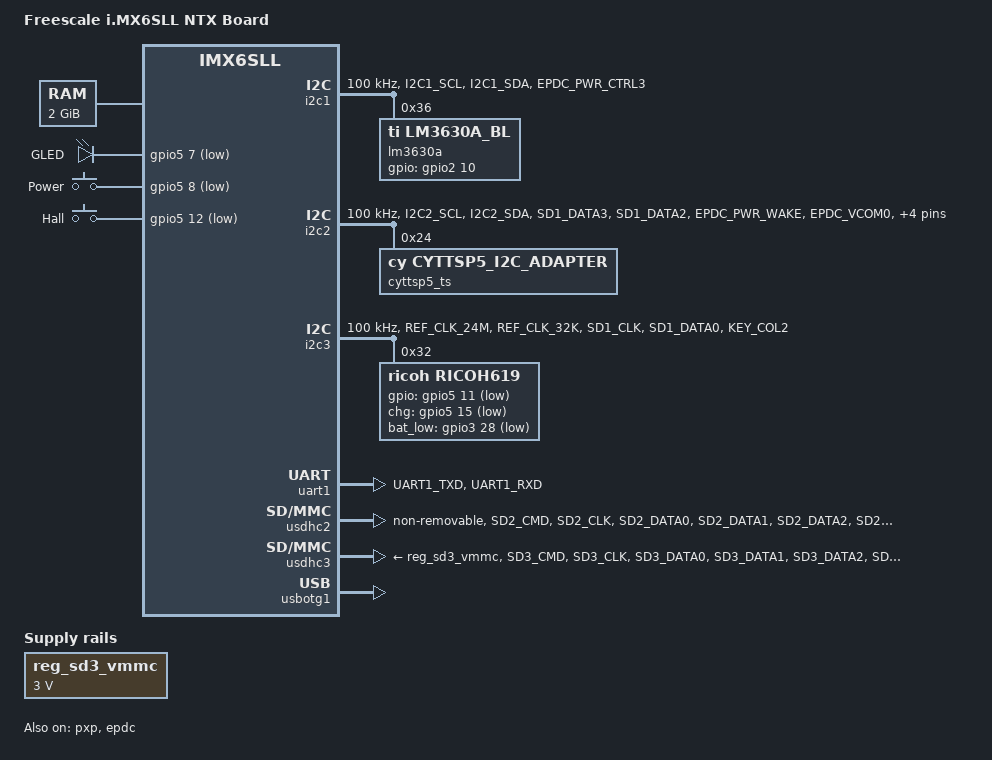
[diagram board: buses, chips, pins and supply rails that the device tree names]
/*
 * Copyright (C) 2016 Freescale Semiconductor, Inc.
 *
 * This program is free software; you can redistribute it and/or modify
 * it under the terms of the GNU General Public License version 2 as
 * published by the Free Software Foundation.
 */

/dts-v1/;

#include <dt-bindings/gpio/gpio.h>
#include <dt-bindings/input/input.h>
#include "imx6sll-ntx.dtsi"

/ {
	model = "Freescale i.MX6SLL NTX Board";
	compatible = "fsl,imx6sll-lpddr3-arm2", "fsl,imx6sll";

	memory {
		reg = <0x80000000 0x80000000>;
	};

	pxp_v4l2_out {
		compatible = "fsl,imx6sl-pxp-v4l2";
		status = "okay";
	};

	regulators {
		compatible = "simple-bus";
		#address-cells = <1>;
		#size-cells = <0>;

		reg_sd3_vmmc: wifi_regulator {
			compatible = "regulator-fixed";
			regulator-name = "SD3_SPWR";
			regulator-min-microvolt = <3000000>;
			regulator-max-microvolt = <3000000>;
			wifipwr-gpio = <&gpio4 29 GPIO_ACTIVE_HIGH>;
			wifirst-gpio = <&gpio5 0 GPIO_ACTIVE_HIGH>;
			wifiint-gpio = <&gpio4 31 GPIO_ACTIVE_HIGH>;
			gpio-open-drain;
		};
	};

	leds {
		compatible = "gpio-leds";
		pinctrl-names = "default";
		pinctrl-0 = <&pinctrl_led>;

		GLED {
			gpios = <&gpio5 7 GPIO_ACTIVE_LOW>;
			linux,default-trigger = "timer";
		};
	};

	gpio-keys {
		compatible = "gpio-keys";
		pinctrl-names = "default";
		pinctrl-0 = <&pinctrl_gpio_keys>;
		power {
			label = "Power";
			gpios = <&gpio5 8 GPIO_ACTIVE_LOW>;
			linux,code = <KEY_POWER>;
			gpio-key,wakeup;
		};
		hall {
			label = "Hall";
			gpios = <&gpio5 12 GPIO_ACTIVE_LOW>;
			linux,code = <KEY_H>;
			gpio-key,wakeup;
		};
	};

	usb_plug {
		compatible = "usb_plug";
	};
	ntx_bl {
		compatible = "ntx_bl";
	};
	ntx_led {
		compatible = "ntx_led";
	};
	ntx_event0 {
		compatible = "ntx_event0";
	};

};

&audmux {
	pinctrl-names = "default";
	status = "disabled";
};

&clks {
	assigned-clocks = <&clks IMX6SLL_CLK_PLL4_AUDIO_DIV>;
	assigned-clock-rates = <393216000>;
};

&cpu0 {
/*	arm-supply = <&sw1a_reg>;*/
/*	soc-supply = <&sw1c_reg>;*/
	arm-supply = <&ricoh619_dcdc3_reg>;
	soc-supply = <&ricoh619_dcdc1_reg>;
};

&csi {
	status = "disabled";
};

&i2c1 {
	clock-frequency = <100000>;
	pinctrl-names = "default","sleep";
	pinctrl-0 = <&pinctrl_i2c1 &pinctrl_lm3630a_bl_gpio>;
	pinctrl-1 = <&pinctrl_i2c1_sleep>;
	status = "okay";

	lm3630a: lm3630a-i2c@36 {
		reg = <0x36>;
		compatible = "ti,lm3630a_bl";
		gpios = <&gpio2 10 0>;
	};
};

&i2c2 {
	clock-frequency = <100000>;
	pinctrl-names = "default","sleep";
	pinctrl-0 = <&pinctrl_i2c2 &pinctrl_elan_ts_gpio &pinctrl_tps65185_gpio>;
	pinctrl-1 = <&pinctrl_i2c2_sleep &pinctrl_elan_ts_gpio_sleep &pinctrl_tps65185_gpio_sleep>;
	status = "okay";

	cyttsp5_ts@24 {
		compatible = "cy,cyttsp5_i2c_adapter";
		reg = <0x24>;

		cy,adapter_id = "cyttsp5_i2c_adapter";

		cy,core {
			cy,name = "cyttsp5_core";

			cy,irq_gpio = <134>;	/* <&gpio5 6 0>; */
			cy,rst_gpio = <141>;	/* <&gpio5 13 0>; */

			cy,hid_desc_register = <1>;
			/*CY_CORE_FLAG_RESTORE_PARAMETERS */
			//cy,flags = <4>;
			/* CY_CORE_EWG_NONE */
			cy,easy_wakeup_gesture = <0>;
			cy,btn_keys = <172 /* KEY_HOMEPAGE */
					   /* previously was KEY_HOME, new Android versions use KEY_HOMEPAGE */
				       139 /* KEY_MENU */
				       158 /* KEY_BACK */
				       217 /* KEY_SEARCH */
				       114 /* KEY_VOLUMEDOWN */
				       115 /* KEY_VOLUMEUP */
				       212 /* KEY_CAMERA */
				       116>; /* KEY_POWER */
			cy,btn_keys-tag = <0>;

			cy,mt {
				cy,name = "cyttsp5_mt";

				cy,inp_dev_name = "cyttsp5_mt";
				/* CY_MT_FLAG_INV_Y*/
				/* cy,flags = <0x20>; */
				cy,abs =
					/* ABS_MT_POSITION_X, CY_ABS_MIN_X, CY_ABS_MAX_X, 0, 0 */
					<0x35 0 880 0 0
					/* ABS_MT_POSITION_Y, CY_ABS_MIN_Y, CY_ABS_MAX_Y, 0, 0 */
					0x36 0 1280 0 0
					/* ABS_MT_PRESSURE, CY_ABS_MIN_P, CY_ABS_MAX_P, 0, 0 */
					0x3a 0 255 0 0
					/* CY_IGNORE_VALUE, CY_ABS_MIN_W, CY_ABS_MAX_W, 0, 0 */
					0xffff 0 255 0 0
					/* ABS_MT_TRACKING_ID, CY_ABS_MIN_T, CY_ABS_MAX_T, 0, 0 */
					0x39 0 15 0 0
					/* ABS_MT_TOUCH_MAJOR, 0, 255, 0, 0 */
					0x30 0 255 0 0
					/* ABS_MT_TOUCH_MINOR, 0, 255, 0, 0 */
					0x31 0 255 0 0
					/* ABS_MT_ORIENTATION, -127, 127, 0, 0 */
					0x34 0xffffff81 127 0 0
					/* ABS_MT_TOOL_TYPE, 0, MT_TOOL_MAX, 0, 0 */
					0x37 0 1 0 0
					/* ABS_MT_DISTANCE, 0, 255, 0, 0 */
					0x3b 0 255 0 0>;

				cy,vkeys_x = <720>;
				cy,vkeys_y = <1280>;

				cy,virtual_keys = /* KeyCode CenterX CenterY Width Height */
					/* KEY_BACK */
					<158 1360 90 160 180
					/* KEY_MENU */
					139 1360 270 160 180
					/* KEY_HOMEPAGE */
					172 1360 450 160 180
					/* KEY SEARCH */
					217 1360 630 160 180>;
			};

			cy,btn {
				cy,name = "cyttsp5_btn";

				cy,inp_dev_name = "cyttsp5_btn";
			};

			cy,proximity {
				cy,name = "cyttsp5_proximity";

				cy,inp_dev_name = "cyttsp5_proximity";
				cy,abs =
					/* ABS_DISTANCE, CY_PROXIMITY_MIN_VAL, CY_PROXIMITY_MAX_VAL, 0, 0 */
					<0x19 0 1 0 0>;
			};
		};
	};

};

&i2c3 {
	clock-frequency = <100000>;
	pinctrl-names = "default";
	pinctrl-0 = <&pinctrl_i2c3 &pinctrl_ricoh_gpio>;
	status = "okay";

	ricoh619: ricoh619-i2c@32 {
		reg = <0x32>;
		compatible = "ricoh,ricoh619";
		gpios = <&gpio5 11 GPIO_ACTIVE_LOW>;
		gpio_chg = <&gpio5 15 GPIO_ACTIVE_LOW>;
		gpio_bat_low = <&gpio3 28 GPIO_ACTIVE_LOW>;
	};

};

#include "ricoh619_mx6sll.dtsi"

&gpc {
	fsl,ldo-bypass = <1>;
};

&iomuxc {
	pinctrl-names = "default";
	pinctrl-0 = <&pinctrl_hog>;

	imx6sll-lpddr3-arm2 {
		pinctrl_hog: hoggrp {
			fsl,pins = <
				MX6SLL_PAD_LCD_DATA00__GPIO2_IO20	0x79
				MX6SLL_PAD_LCD_DATA01__GPIO2_IO21	0x79
				MX6SLL_PAD_LCD_DATA02__GPIO2_IO22	0x79
				MX6SLL_PAD_LCD_DATA03__GPIO2_IO23	0x79
				MX6SLL_PAD_LCD_DATA04__GPIO2_IO24	0x79
				MX6SLL_PAD_LCD_DATA05__GPIO2_IO25	0x79
				MX6SLL_PAD_LCD_DATA06__GPIO2_IO26	0x79
				MX6SLL_PAD_LCD_DATA07__GPIO2_IO27	0x79
				MX6SLL_PAD_LCD_DATA08__GPIO2_IO28	0x79
				MX6SLL_PAD_LCD_DATA09__GPIO2_IO29	0x79
				MX6SLL_PAD_LCD_DATA10__GPIO2_IO30	0x79
				MX6SLL_PAD_LCD_DATA11__GPIO2_IO31	0x79
				MX6SLL_PAD_LCD_DATA12__GPIO3_IO00	0x79
				MX6SLL_PAD_LCD_DATA13__GPIO3_IO01	0x79
				MX6SLL_PAD_LCD_DATA14__GPIO3_IO02	0x79
				MX6SLL_PAD_LCD_DATA15__GPIO3_IO03	0x79
				MX6SLL_PAD_LCD_DATA16__GPIO3_IO04	0x79
				MX6SLL_PAD_LCD_DATA17__GPIO3_IO05	0x79
				MX6SLL_PAD_LCD_DATA18__GPIO3_IO06	0x79
				MX6SLL_PAD_LCD_DATA19__GPIO3_IO07	0x79
				MX6SLL_PAD_LCD_DATA20__GPIO3_IO08	0x79
				MX6SLL_PAD_LCD_DATA21__GPIO3_IO09	0x79
				MX6SLL_PAD_LCD_DATA22__GPIO3_IO10	0x79
				MX6SLL_PAD_LCD_DATA23__GPIO3_IO11	0x79
				MX6SLL_PAD_LCD_CLK__GPIO2_IO15		0x79
				MX6SLL_PAD_LCD_ENABLE__GPIO2_IO16	0x79
				MX6SLL_PAD_LCD_HSYNC__GPIO2_IO17	0x79
				MX6SLL_PAD_LCD_VSYNC__GPIO2_IO18	0x79
				MX6SLL_PAD_LCD_RESET__GPIO2_IO19 	0x79
				MX6SLL_PAD_KEY_COL3__GPIO3_IO30		0x79
				MX6SLL_PAD_KEY_ROW7__GPIO4_IO07		0x79
				MX6SLL_PAD_ECSPI2_MOSI__GPIO4_IO13	0x79	
				MX6SLL_PAD_KEY_COL5__GPIO4_IO02		0x79
				MX6SLL_PAD_KEY_ROW6__GPIO4_IO05		0x79			
			>;
		};

		pinctrl_usdhc3_pwr: usdhc3_pwr_grp {
			fsl,pins = <
				MX6SLL_PAD_SD2_DATA7__GPIO5_IO00 	0x10059		// WIFI_RST
				MX6SLL_PAD_SD2_DATA5__GPIO4_IO31	0x10059		// WIFI_INT
				MX6SLL_PAD_SD2_DATA6__GPIO4_IO29	0x10059		// WIFI_3V3_ON
			>;
		};

		pinctrl_audmux3: audmux3grp {
			fsl,pins = <
				MX6SLL_PAD_AUD_TXC__AUD3_TXC		0x4130b0
				MX6SLL_PAD_AUD_TXFS__AUD3_TXFS		0x4130b0
				MX6SLL_PAD_AUD_TXD__AUD3_TXD		0x4110b0
				MX6SLL_PAD_AUD_RXD__AUD3_RXD		0x4130b0
				MX6SLL_PAD_AUD_MCLK__AUDIO_CLK_OUT	0x4130b0
			>;
		};

		pinctrl_csi1: csi1grp {
			fsl,pins = <
				MX6SLL_PAD_EPDC_GDRL__CSI_MCLK		0x1b088
				MX6SLL_PAD_EPDC_GDCLK__CSI_PIXCLK	0x1b088
				MX6SLL_PAD_EPDC_GDSP__CSI_VSYNC		0x1b088
				MX6SLL_PAD_EPDC_GDOE__CSI_HSYNC		0x1b088
				MX6SLL_PAD_EPDC_DATA02__CSI_DATA02	0x1b088
				MX6SLL_PAD_EPDC_DATA03__CSI_DATA03	0x1b088
				MX6SLL_PAD_EPDC_DATA04__CSI_DATA04	0x1b088
				MX6SLL_PAD_EPDC_DATA05__CSI_DATA05	0x1b088
				MX6SLL_PAD_EPDC_DATA06__CSI_DATA06	0x1b088
				MX6SLL_PAD_EPDC_DATA07__CSI_DATA07	0x1b088
				MX6SLL_PAD_EPDC_SDCLK__CSI_DATA08	0x1b088
				MX6SLL_PAD_EPDC_SDLE__CSI_DATA09	0x1b088
				MX6SLL_PAD_EPDC_SDSHR__GPIO1_IO26	0x80000000
				MX6SLL_PAD_EPDC_SDOE__GPIO1_IO25	0x80000000
			>;
		};

		pinctrl_led: ledgrp {
			fsl,pins = <
				MX6SLL_PAD_SD1_DATA6__GPIO5_IO07 0x17059
			>;
		};

                pinctrl_epdc0: epdcgrp0 {
                        fsl,pins = <
				MX6SLL_PAD_EPDC_DATA00__EPDC_DATA00	0x4100b1
				MX6SLL_PAD_EPDC_DATA01__EPDC_DATA01	0x4100b1
				MX6SLL_PAD_EPDC_DATA02__EPDC_DATA02	0x4100b1
				MX6SLL_PAD_EPDC_DATA03__EPDC_DATA03	0x4100b1
				MX6SLL_PAD_EPDC_DATA04__EPDC_DATA04	0x4100b1
				MX6SLL_PAD_EPDC_DATA05__EPDC_DATA05	0x4100b1
				MX6SLL_PAD_EPDC_DATA06__EPDC_DATA06	0x4100b1
				MX6SLL_PAD_EPDC_DATA07__EPDC_DATA07	0x4100b1
				MX6SLL_PAD_EPDC_DATA08__EPDC_DATA08	0x4100b1
				MX6SLL_PAD_EPDC_DATA09__EPDC_DATA09	0x4100b1
				MX6SLL_PAD_EPDC_DATA10__EPDC_DATA10	0x4100b1
				MX6SLL_PAD_EPDC_DATA11__EPDC_DATA11	0x4100b1
				MX6SLL_PAD_EPDC_DATA12__EPDC_DATA12	0x4100b1
				MX6SLL_PAD_EPDC_DATA13__EPDC_DATA13	0x4100b1
				MX6SLL_PAD_EPDC_DATA14__EPDC_DATA14	0x4100b1
				MX6SLL_PAD_EPDC_DATA15__EPDC_DATA15	0x4100b1
				MX6SLL_PAD_EPDC_SDCLK__EPDC_SDCLK_P	0x4100b1
				MX6SLL_PAD_EPDC_SDLE__EPDC_SDLE		0x4100b1
				MX6SLL_PAD_EPDC_SDOE__EPDC_SDOE		0x4100b1
				MX6SLL_PAD_EPDC_SDSHR__EPDC_SDSHR	0x4100b1
				MX6SLL_PAD_EPDC_SDCE0__EPDC_SDCE0	0x4100b1
				MX6SLL_PAD_EPDC_GDCLK__EPDC_GDCLK	0x4100b1
				MX6SLL_PAD_EPDC_GDOE__EPDC_GDOE		0x4100b1
				MX6SLL_PAD_EPDC_GDRL__EPDC_GDRL		0x4100b1
				MX6SLL_PAD_EPDC_GDSP__EPDC_GDSP		0x4100b1
                       >;
                };

		pinctrl_lcdif_dat: lcdifdatgrp {
			fsl,pins = <
				MX6SLL_PAD_LCD_DATA00__LCD_DATA00	0x79
				MX6SLL_PAD_LCD_DATA01__LCD_DATA01	0x79
				MX6SLL_PAD_LCD_DATA02__LCD_DATA02	0x79
				MX6SLL_PAD_LCD_DATA03__LCD_DATA03	0x79
				MX6SLL_PAD_LCD_DATA04__LCD_DATA04	0x79
				MX6SLL_PAD_LCD_DATA05__LCD_DATA05	0x79
				MX6SLL_PAD_LCD_DATA06__LCD_DATA06	0x79
				MX6SLL_PAD_LCD_DATA07__LCD_DATA07	0x79
				MX6SLL_PAD_LCD_DATA08__LCD_DATA08	0x79
				MX6SLL_PAD_LCD_DATA09__LCD_DATA09	0x79
				MX6SLL_PAD_LCD_DATA10__LCD_DATA10	0x79
				MX6SLL_PAD_LCD_DATA11__LCD_DATA11	0x79
				MX6SLL_PAD_LCD_DATA12__LCD_DATA12	0x79
				MX6SLL_PAD_LCD_DATA13__LCD_DATA13	0x79
				MX6SLL_PAD_LCD_DATA14__LCD_DATA14	0x79
				MX6SLL_PAD_LCD_DATA15__LCD_DATA15	0x79
				MX6SLL_PAD_LCD_DATA16__LCD_DATA16	0x79
				MX6SLL_PAD_LCD_DATA17__LCD_DATA17	0x79
				MX6SLL_PAD_LCD_DATA18__LCD_DATA18	0x79
				MX6SLL_PAD_LCD_DATA19__LCD_DATA19	0x79
				MX6SLL_PAD_LCD_DATA20__LCD_DATA20	0x79
				MX6SLL_PAD_LCD_DATA21__LCD_DATA21	0x79
				MX6SLL_PAD_LCD_DATA22__LCD_DATA22	0x79
				MX6SLL_PAD_LCD_DATA23__LCD_DATA23	0x79
			>;
		};

		pinctrl_lcdif_ctrl: lcdifctrlgrp {
			fsl,pins = <
				MX6SLL_PAD_LCD_CLK__LCD_CLK		0x79
				MX6SLL_PAD_LCD_ENABLE__LCD_ENABLE	0x79
				MX6SLL_PAD_LCD_HSYNC__LCD_HSYNC		0x79
				MX6SLL_PAD_LCD_VSYNC__LCD_VSYNC		0x79
				MX6SLL_PAD_LCD_RESET__LCD_RESET		0x79
				MX6SLL_PAD_ECSPI1_SCLK__GPIO4_IO08	0x79
			>;
		};

		pinctrl_max17135: max17135grp-1 {
			fsl,pins = <
				MX6SLL_PAD_EPDC_PWR_STAT__GPIO2_IO13	0x80000000  /* pwrgood */
				MX6SLL_PAD_EPDC_VCOM0__GPIO2_IO03	0x80000000  /* vcom_ctrl */
				MX6SLL_PAD_EPDC_PWR_WAKE__GPIO2_IO14	0x80000000  /* wakeup */
				MX6SLL_PAD_EPDC_PWR_CTRL0__GPIO2_IO07	0x80000000  /* v3p3 */
				MX6SLL_PAD_EPDC_PWR_IRQ__GPIO2_IO12	0x80000000  /* pwr int */
			>;
		};

		pinctrl_spdif: spdifgrp {
			fsl,pins = <
				MX6SLL_PAD_SD2_DATA4__SPDIF_OUT 0x4130b0
			>;
		};

		pinctrl_uart1: uart1grp {
			fsl,pins = <
				MX6SLL_PAD_UART1_TXD__UART1_DCE_TX 0x1b0b1
				MX6SLL_PAD_UART1_RXD__UART1_DCE_RX 0x1b0b1
			>;
		};

		pinctrl_usdhc1: usdhc1grp {
			fsl,pins = <
				MX6SLL_PAD_SD1_CMD__SD1_CMD	0x17059
				MX6SLL_PAD_SD1_CLK__SD1_CLK	0x17059
				MX6SLL_PAD_SD1_DATA0__SD1_DATA0	0x17059
				MX6SLL_PAD_SD1_DATA1__SD1_DATA1	0x17059
				MX6SLL_PAD_SD1_DATA2__SD1_DATA2	0x17059
				MX6SLL_PAD_SD1_DATA3__SD1_DATA3	0x17059
			>;
		};

		pinctrl_usdhc1_100mhz: usdhc1grp_100mhz {
			fsl,pins = <
				MX6SLL_PAD_SD1_CMD__SD1_CMD	0x170b9
				MX6SLL_PAD_SD1_CLK__SD1_CLK	0x170b9
				MX6SLL_PAD_SD1_DATA0__SD1_DATA0	0x170b9
				MX6SLL_PAD_SD1_DATA1__SD1_DATA1	0x170b9
				MX6SLL_PAD_SD1_DATA2__SD1_DATA2	0x170b9
				MX6SLL_PAD_SD1_DATA3__SD1_DATA3	0x170b9
			>;
		};

		pinctrl_usdhc1_200mhz: usdhc1grp_200mhz {
			fsl,pins = <
				MX6SLL_PAD_SD1_CMD__SD1_CMD	0x170f9
				MX6SLL_PAD_SD1_CLK__SD1_CLK	0x170f9
				MX6SLL_PAD_SD1_DATA0__SD1_DATA0	0x170f9
				MX6SLL_PAD_SD1_DATA1__SD1_DATA1	0x170f9
				MX6SLL_PAD_SD1_DATA2__SD1_DATA2	0x170f9
				MX6SLL_PAD_SD1_DATA3__SD1_DATA3	0x170f9
			>;
		};

		pinctrl_usdhc2: usdhc2grp {
			fsl,pins = <
				MX6SLL_PAD_SD2_CMD__SD2_CMD		0x17059
				MX6SLL_PAD_SD2_CLK__SD2_CLK		0x13059
				MX6SLL_PAD_SD2_DATA0__SD2_DATA0 	0x17059
				MX6SLL_PAD_SD2_DATA1__SD2_DATA1		0x17059
				MX6SLL_PAD_SD2_DATA2__SD2_DATA2		0x17059
				MX6SLL_PAD_SD2_DATA3__SD2_DATA3		0x17059
			>;
		};

		pinctrl_usdhc2_100mhz: usdhc2grp_100mhz {
			fsl,pins = <
				MX6SLL_PAD_SD2_CMD__SD2_CMD		0x170b9
				MX6SLL_PAD_SD2_CLK__SD2_CLK		0x130b9
				MX6SLL_PAD_SD2_DATA0__SD2_DATA0 	0x170b9
				MX6SLL_PAD_SD2_DATA1__SD2_DATA1		0x170b9
				MX6SLL_PAD_SD2_DATA2__SD2_DATA2		0x170b9
				MX6SLL_PAD_SD2_DATA3__SD2_DATA3		0x170b9
			>;
		};

		pinctrl_usdhc2_200mhz: usdhc2grp_200mhz {
			fsl,pins = <
				MX6SLL_PAD_SD2_CMD__SD2_CMD		0x170f9
				MX6SLL_PAD_SD2_CLK__SD2_CLK		0x130f9
				MX6SLL_PAD_SD2_DATA0__SD2_DATA0 	0x170f9
				MX6SLL_PAD_SD2_DATA1__SD2_DATA1		0x170f9
				MX6SLL_PAD_SD2_DATA2__SD2_DATA2		0x170f9
				MX6SLL_PAD_SD2_DATA3__SD2_DATA3		0x170f9
			>;
		};

		pinctrl_usdhc2_sleep: usdhc2grp_sleep {
			fsl,pins = <
				MX6SLL_PAD_SD2_CMD__GPIO5_IO04		0x100f9
				MX6SLL_PAD_SD2_CLK__GPIO5_IO05		0x100f9
				MX6SLL_PAD_SD2_DATA0__GPIO5_IO01 	0x100f9
				MX6SLL_PAD_SD2_DATA1__GPIO4_IO30		0x100f9
				MX6SLL_PAD_SD2_DATA2__GPIO5_IO03		0x100f9
				MX6SLL_PAD_SD2_DATA3__GPIO4_IO28		0x100f9
			>;
		};

		pinctrl_usdhc3: usdhc3grp {
			fsl,pins = <
				MX6SLL_PAD_SD3_CMD__SD3_CMD	0x11059
				MX6SLL_PAD_SD3_CLK__SD3_CLK	0x11059
				MX6SLL_PAD_SD3_DATA0__SD3_DATA0	0x11059
				MX6SLL_PAD_SD3_DATA1__SD3_DATA1	0x11059
				MX6SLL_PAD_SD3_DATA2__SD3_DATA2	0x11059
				MX6SLL_PAD_SD3_DATA3__SD3_DATA3	0x11059
			>;
		};

		pinctrl_usdhc3_100mhz: usdhc3grp_100mhz {
			fsl,pins = <
				MX6SLL_PAD_SD3_CMD__SD3_CMD	0x170b9
				MX6SLL_PAD_SD3_CLK__SD3_CLK	0x170b9
				MX6SLL_PAD_SD3_DATA0__SD3_DATA0	0x170b9
				MX6SLL_PAD_SD3_DATA1__SD3_DATA1	0x170b9
				MX6SLL_PAD_SD3_DATA2__SD3_DATA2	0x170b9
				MX6SLL_PAD_SD3_DATA3__SD3_DATA3	0x170b9
			>;
		};

		pinctrl_usdhc3_200mhz: usdhc3grp_200mhz {
			fsl,pins = <
				MX6SLL_PAD_SD3_CMD__SD3_CMD	0x170f9
				MX6SLL_PAD_SD3_CLK__SD3_CLK	0x170f9
				MX6SLL_PAD_SD3_DATA0__SD3_DATA0	0x170f9
				MX6SLL_PAD_SD3_DATA1__SD3_DATA1	0x170f9
				MX6SLL_PAD_SD3_DATA2__SD3_DATA2	0x170f9
				MX6SLL_PAD_SD3_DATA3__SD3_DATA3	0x170f9
			>;
		};

		pinctrl_usdhc3_sleep: usdhc3grp_sleep {
			fsl,pins = <
				MX6SLL_PAD_SD3_CMD__GPIO5_IO21	0x100c1
				MX6SLL_PAD_SD3_CLK__GPIO5_IO18	0x100c1
				MX6SLL_PAD_SD3_DATA0__GPIO5_IO19	0x100c1
				MX6SLL_PAD_SD3_DATA1__GPIO5_IO20	0x100c1
				MX6SLL_PAD_SD3_DATA2__GPIO5_IO16	0x100c1
				MX6SLL_PAD_SD3_DATA3__GPIO5_IO17	0x100c1
			>;
		};

		pinctrl_usbotg1: usbotg1grp {
			fsl,pins = <
				MX6SLL_PAD_EPDC_PWR_COM__USB_OTG1_ID 0x17059
			>;
		};

		pinctrl_i2c1: i2c1grp {
			fsl,pins = <
				MX6SLL_PAD_I2C1_SCL__I2C1_SCL	 0x4001f8b1
				MX6SLL_PAD_I2C1_SDA__I2C1_SDA	 0x4001f8b1
			>;
		};

		pinctrl_i2c1_sleep: i2c1grp_sleep {
			fsl,pins = <
				MX6SLL_PAD_I2C1_SCL__I2C1_SCL	 0x400108b1
				MX6SLL_PAD_I2C1_SDA__I2C1_SDA	 0x400108b1
			>;
		};

		pinctrl_i2c2: i2c2grp {
			fsl,pins = <
				MX6SLL_PAD_I2C2_SCL__I2C2_SCL	 0x4001f8b1
				MX6SLL_PAD_I2C2_SDA__I2C2_SDA	 0x4001f8b1
			>;
		};

		pinctrl_i2c2_sleep: i2c2grp_sleep {
			fsl,pins = <
				MX6SLL_PAD_I2C2_SCL__I2C2_SCL	 0x400108b1
				MX6SLL_PAD_I2C2_SDA__I2C2_SDA	 0x400108b1
			>;
		};

		pinctrl_i2c3: i2c3grp {
			fsl,pins = <
				MX6SLL_PAD_REF_CLK_24M__I2C3_SCL  0x4001f8b1
				MX6SLL_PAD_REF_CLK_32K__I2C3_SDA  0x4001f8b1
			>;
		};

		pinctrl_pwm1: pmw1grp {
			fsl,pins = <
				MX6SLL_PAD_PWM1__PWM1_OUT   0x110b0
			>;
		};

		pinctrl_ecspi1: ecspi1grp {
			fsl,pins = <
				MX6SLL_PAD_ECSPI1_MISO__ECSPI1_MISO	 0x100b1
				MX6SLL_PAD_ECSPI1_MOSI__ECSPI1_MOSI	 0x100b1
				MX6SLL_PAD_ECSPI1_SCLK__ECSPI1_SCLK	 0x100b1
				MX6SLL_PAD_ECSPI1_SS0__GPIO4_IO11	 0x100b1
			>;
		};

		pinctrl_ricoh_gpio: ricoh_gpio_grp {
			fsl,pins = <
				MX6SLL_PAD_SD1_CLK__GPIO5_IO15			0x1b8b1 /* ricoh619 chg */
				MX6SLL_PAD_SD1_DATA0__GPIO5_IO11        0x1b8b1 /* ricoh619 irq */
				MX6SLL_PAD_KEY_COL2__GPIO3_IO28				0x1b8b1 /* ricoh619 bat_low_int */
			>;
		};

		pinctrl_tps65185_gpio: tps65185_gpio_grp {
			fsl,pins = <
				MX6SLL_PAD_EPDC_PWR_WAKE__GPIO2_IO14_SION		0x10059 /* EP_PWRALL */
				MX6SLL_PAD_EPDC_VCOM0__GPIO2_IO03_SION			0x10059 /* VCOM_CTRL0 */
				MX6SLL_PAD_EPDC_PWR_CTRL0__GPIO2_IO07_SION		0x10059 /* EP_PWRCTRL0 WAKEUP */
				MX6SLL_PAD_EPDC_PWR_CTRL1__GPIO2_IO08_SION		0x10059 /* EP_PWRCTRL1 PWRUP */
				MX6SLL_PAD_EPDC_PWR_CTRL2__GPIO2_IO09		0x17059 /* EP_PWRCTRL2 EP_INT */
				MX6SLL_PAD_EPDC_PWR_STAT__GPIO2_IO13		0x17059 /* EP_PWRSTAT */
			>;
		};

		pinctrl_tps65185_gpio_sleep: tps65185_gpio_sleep_grp {
			fsl,pins = <
				MX6SLL_PAD_EPDC_PWR_WAKE__GPIO2_IO14		0x10059 /* EP_PWRALL */
				MX6SLL_PAD_EPDC_VCOM0__GPIO2_IO03			0x10059 /* VCOM_CTRL0 */
				MX6SLL_PAD_EPDC_PWR_CTRL0__GPIO2_IO07		0x10059 /* EP_PWRCTRL0 WAKEUP */
				MX6SLL_PAD_EPDC_PWR_CTRL1__GPIO2_IO08		0x10059 /* EP_PWRCTRL1 PWRUP */
				MX6SLL_PAD_EPDC_PWR_CTRL2__GPIO2_IO09		0x13059 /* EP_PWRCTRL2 EP_INT */
				MX6SLL_PAD_EPDC_PWR_STAT__GPIO2_IO13		0x13059 /* EP_PWRSTAT */
			>;
		};

		pinctrl_elan_ts_gpio: elan_ts_gpio_grp {
			fsl,pins = <
				MX6SLL_PAD_SD1_DATA3__GPIO5_IO06		0x17059 /* TP_INT */
				MX6SLL_PAD_SD1_DATA2__GPIO5_IO13		0x10059 /* TP_RST */
			>;
		};

		pinctrl_elan_ts_gpio_sleep: elan_ts_gpio_grp_sleep {
			fsl,pins = <
				MX6SLL_PAD_SD1_DATA3__GPIO5_IO06		0x10059 /* TP_INT */
				MX6SLL_PAD_SD1_DATA2__GPIO5_IO13		0x10059 /* TP_RST */
			>;
		};

		pinctrl_lm3630a_bl_gpio: lm3630a_bl_gpio_grp {
			fsl,pins = <
				MX6SLL_PAD_EPDC_PWR_CTRL3__GPIO2_IO10		0x10059 /* FL_EN */
			>;
		};

		pinctrl_gpio_keys: gpio_keys_grp {
			fsl,pins = <
				MX6SLL_PAD_SD1_DATA1__GPIO5_IO08	0x17059	/* PWR_SW */
				MX6SLL_PAD_SD1_DATA4__GPIO5_IO12	0x17059	/* HALL_EN */
			>;
		};

	};
};

&lcdif {
	pinctrl-names = "default";
	pinctrl-0 = <&pinctrl_lcdif_dat
		     &pinctrl_lcdif_ctrl>;
	display = <&display>;
	status = "disabled";

	display: display {
		bits-per-pixel = <16>;
		bus-width = <24>;

		display-timings {
			native-mode = <&timing0>;
			timing0: timing0 {
				clock-frequency = <33500000>;
				hactive = <800>;
				vactive = <480>;
				hback-porch = <89>;
				hfront-porch = <164>;
				vback-porch = <23>;
				vfront-porch = <10>;
				hsync-len = <10>;
				vsync-len = <10>;
				hsync-active = <0>;
				vsync-active = <0>;
				de-active = <1>;
				pixelclk-active = <0>;
			};
		};
	};
};

&pxp {
	status = "okay";
};

&pwm1 {
	pinctrl-names = "default";
	status = "disabled";
};

&uart1 {
	pinctrl-names = "default";
	pinctrl-0 = <&pinctrl_uart1>;
	status = "okay";
};

&usdhc1 {
	status = "disabled";
};

&usdhc2 {
	pinctrl-names = "default", "state_100mhz", "state_200mhz","sleep";
	pinctrl-0 = <&pinctrl_usdhc2>;
	pinctrl-1 = <&pinctrl_usdhc2_100mhz>;
	pinctrl-2 = <&pinctrl_usdhc2_200mhz>;
	pinctrl-3 = <&pinctrl_usdhc2_sleep>;
	non-removable;
	status = "okay";
};

&usdhc3 {
	pinctrl-names = "default", "state_100mhz", "state_200mhz","sleep";
	pinctrl-0 = <&pinctrl_usdhc3>, <&pinctrl_usdhc3_pwr>;
	pinctrl-1 = <&pinctrl_usdhc3_100mhz>;
	pinctrl-2 = <&pinctrl_usdhc3_200mhz>;
	pinctrl-3 = <&pinctrl_usdhc3_sleep>, <&pinctrl_usdhc3_pwr>;
	vmmc-supply = <&reg_sd3_vmmc>;
	wifi-host;
	status = "okay";
};

&usbotg1 {
	pinctrl-names = "default";
	disable-over-current;
	srp-disable;
	hnp-disable;
	adp-disable;
	status = "okay";
};

&usbotg2 {
	dr_mode = "host";
	disable-over-current;
	status = "disabled";
};

&ecspi1 {
	fsl,spi-num-chipselects = <1>;
	cs-gpios = <&gpio4 11 0>;
	pinctrl-names = "default";
	pinctrl-0 = <&pinctrl_ecspi1>;
	status = "disabled";
};

&epdc {
	safe-ticks-turnoff-ep3v3=<800>;
	pinctrl-names = "default";
	pinctrl-0 = <&pinctrl_epdc0>;
	V3P3-supply = <&V3P3_reg>;	
	VCOM-supply = <&VCOM_reg>;	
	DISPLAY-supply = <&DISPLAY_reg>; 
	TMST-supply = <&TMST_reg>; 
	status = "okay";
};

&ssi2 {
	status = "disabled";
};
